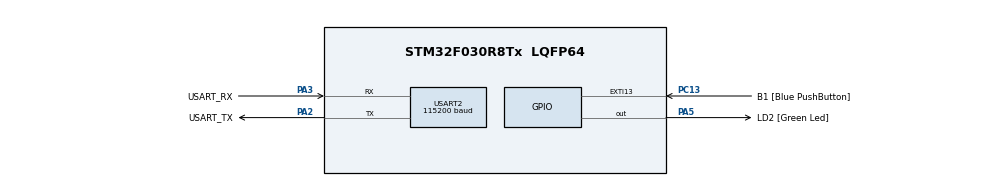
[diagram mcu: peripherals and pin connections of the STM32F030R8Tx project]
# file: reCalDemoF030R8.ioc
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Mcu.Family=STM32F0
Mcu.Name=STM32F030R8Tx
Mcu.Package=LQFP64
NVIC.USART2_IRQn=true\:0\:0\:false\:false\:true\:true\:true
PA13.GPIO_Label=TMS
PA13.Mode=Serial_Wire
PA13.Signal=SYS_SWDIO
PA14.GPIO_Label=TCK
PA14.Mode=Serial_Wire
PA14.Signal=SYS_SWCLK
PA2.GPIO_Label=USART_TX
PA2.GPIO_Mode=GPIO_MODE_AF_PP
PA2.GPIO_PuPd=GPIO_NOPULL
PA2.GPIO_Speed=GPIO_SPEED_FREQ_LOW
PA2.Mode=Asynchronous
PA2.Signal=USART2_TX
PA3.GPIO_Label=USART_RX
PA3.GPIO_Mode=GPIO_MODE_AF_PP
PA3.GPIO_PuPd=GPIO_NOPULL
PA3.GPIO_Speed=GPIO_SPEED_FREQ_LOW
PA3.Mode=Asynchronous
PA3.Signal=USART2_RX
PA5.GPIO_Label=LD2 [Green Led]
PA5.GPIO_Mode=GPIO_MODE_OUTPUT_PP
PA5.GPIO_PuPd=GPIO_NOPULL
PA5.GPIO_Speed=GPIO_SPEED_FREQ_LOW
PA5.Signal=GPIO_Output
PC13.GPIO_Label=B1 [Blue PushButton]
PC13.GPIO_ModeDefaultEXTI=GPIO_MODE_IT_FALLING
PC13.Signal=GPXTI13
PC14-OSC32_IN.Mode=LSE-External-Oscillator
PC14-OSC32_IN.Signal=RCC_OSC32_IN
PC15-OSC32_OUT.Mode=LSE-External-Oscillator
PC15-OSC32_OUT.Signal=RCC_OSC32_OUT
PF0-OSC_IN.Mode=HSE-External-Clock-Source
PF0-OSC_IN.Signal=RCC_OSC_IN
PF1-OSC_OUT.Signal=RCC_OSC_OUT
ProjectManager.HeapSize=0x200
ProjectManager.StackSize=0x400
ProjectManager.TargetToolchain=MDK-ARM V5.27
RCC.AHBFreq_Value=48000000
RCC.APB1Freq_Value=48000000
RCC.APB1TimFreq_Value=48000000
RCC.HCLKFreq_Value=48000000
RCC.PLLMUL=RCC_PLL_MUL12
RCC.SYSCLKFreq_VALUE=48000000
RCC.SYSCLKSource=RCC_SYSCLKSOURCE_PLLCLK
USART2.BaudRate=115200
USART2.VirtualMode-Asynchronous=VM_ASYNC
board=NUCLEO-F030R8

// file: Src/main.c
/* USER CODE BEGIN Header */
/**
  ******************************************************************************
  * @file           : main.c
  * @brief          : Main program body
  ******************************************************************************
  * @attention
  *
  * <h2><center>&copy; Copyright (c) 2020 STMicroelectronics.
  * All rights reserved.</center></h2>
  *
  * This software component is licensed by ST under BSD 3-Clause license,
  * the "License"; You may not use this file except in compliance with the
  * License. You may obtain a copy of the License at:
  *                        opensource.org/licenses/BSD-3-Clause
  *
  ******************************************************************************
  */
/* USER CODE END Header */

#include "main.h"

/* USER CODE BEGIN Includes */
#include "trice.h"
#include "triceCheck.h"
#ifdef ENCRYPT
#include "xteaCrypto.h"
#endif
/* USER CODE END Includes */

void SystemClock_Config(void);
static void MX_GPIO_Init(void);
static void MX_USART2_UART_Init(void);

int main(void)
{
  /* USER CODE BEGIN 1 */
#ifdef ENCRYPT
    InitXteaTable();
#endif
  /* USER CODE END 1 */

  /* MCU Configuration--------------------------------------------------------*/

  /* Reset of all peripherals, Initializes the Flash interface and the Systick. */

  LL_APB1_GRP2_EnableClock(LL_APB1_GRP2_PERIPH_SYSCFG);
  LL_APB1_GRP1_EnableClock(LL_APB1_GRP1_PERIPH_PWR);

  /* System interrupt init*/

  /* Configure the system clock */
  SystemClock_Config();

  /* USER CODE BEGIN SysInit */
    SysTick->CTRL |= SysTick_CTRL_TICKINT_Msk; // enable SysTick interrupt
  /* USER CODE END SysInit */

  /* Initialize all configured peripherals */
  MX_GPIO_Init();
  MX_USART2_UART_Init();
  /* USER CODE BEGIN 2 */
    LL_USART_EnableIT_RXNE(USART2); // enable UART2 interrupt
  /* USER CODE END 2 */

  /* Infinite loop */
  /* USER CODE BEGIN WHILE */
    TRICE16_1( Id(51648), "msg:Hello from MCU! SysTickVal now %d\n", SYSTICKVAL16 );
    while (1)
    {
        static int32_t loopCount = 0u;
        #define LOOPCOUNT 1000000u // resonable for 48 MHz MCU
        loopCount++;
        if( (LOOPCOUNT>>1) == loopCount ){
            static int i = 0;
            TRICE32_1( Id(43027), "msg:Loop %d\n\n\n", i );
            i++;
            LL_GPIO_ResetOutputPin(LD2_GPIO_Port, LD2_Pin);
        }
        if( LOOPCOUNT == loopCount ){
          loopCount = 0;
          LL_GPIO_SetOutputPin(LD2_GPIO_Port, LD2_Pin);

            triceString( 0, "msg:01234567\r\n" );
            triceString( 0, "dbg:abcdefghi\r\n" );
            triceString( 0, "att:ABCDEFGHIJ\r\n" );
            triceCheckSet();
        }
    /* USER CODE END WHILE */

  }
}

void SystemClock_Config(void)
{
  LL_FLASH_SetLatency(LL_FLASH_LATENCY_1);

  if(LL_FLASH_GetLatency() != LL_FLASH_LATENCY_1)
  {
  Error_Handler();
  }
  LL_RCC_HSI_Enable();

   /* Wait till HSI is ready */
  while(LL_RCC_HSI_IsReady() != 1)
  {

  }
  LL_RCC_HSI_SetCalibTrimming(16);
  LL_RCC_PLL_ConfigDomain_SYS(LL_RCC_PLLSOURCE_HSI_DIV_2, LL_RCC_PLL_MUL_12);
  LL_RCC_PLL_Enable();

   /* Wait till PLL is ready */
  while(LL_RCC_PLL_IsReady() != 1)
  {

  }
  LL_RCC_SetAHBPrescaler(LL_RCC_SYSCLK_DIV_1);
  LL_RCC_SetAPB1Prescaler(LL_RCC_APB1_DIV_1);
  LL_RCC_SetSysClkSource(LL_RCC_SYS_CLKSOURCE_PLL);

   /* Wait till System clock is ready */
  while(LL_RCC_GetSysClkSource() != LL_RCC_SYS_CLKSOURCE_STATUS_PLL)
  {

  }
  LL_Init1msTick(48000000);
  LL_SYSTICK_SetClkSource(LL_SYSTICK_CLKSOURCE_HCLK);
  LL_SetSystemCoreClock(48000000);
}

static void MX_USART2_UART_Init(void)
{

  LL_USART_InitTypeDef USART_InitStruct = {0};

  LL_GPIO_InitTypeDef GPIO_InitStruct = {0};

  /* Peripheral clock enable */
  LL_APB1_GRP1_EnableClock(LL_APB1_GRP1_PERIPH_USART2);

  LL_AHB1_GRP1_EnableClock(LL_AHB1_GRP1_PERIPH_GPIOA);
  /**USART2 GPIO Configuration
  PA2   ------> USART2_TX
  PA3   ------> USART2_RX
  */
  GPIO_InitStruct.Pin = USART_TX_Pin;
  GPIO_InitStruct.Mode = LL_GPIO_MODE_ALTERNATE;
  GPIO_InitStruct.Speed = LL_GPIO_SPEED_FREQ_LOW;
  GPIO_InitStruct.OutputType = LL_GPIO_OUTPUT_PUSHPULL;
  GPIO_InitStruct.Pull = LL_GPIO_PULL_NO;
  GPIO_InitStruct.Alternate = LL_GPIO_AF_1;
  LL_GPIO_Init(USART_TX_GPIO_Port, &GPIO_InitStruct);

  GPIO_InitStruct.Pin = USART_RX_Pin;
  GPIO_InitStruct.Mode = LL_GPIO_MODE_ALTERNATE;
  GPIO_InitStruct.Speed = LL_GPIO_SPEED_FREQ_LOW;
  GPIO_InitStruct.OutputType = LL_GPIO_OUTPUT_PUSHPULL;
  GPIO_InitStruct.Pull = LL_GPIO_PULL_NO;
  GPIO_InitStruct.Alternate = LL_GPIO_AF_1;
  LL_GPIO_Init(USART_RX_GPIO_Port, &GPIO_InitStruct);

  /* USART2 interrupt Init */
  NVIC_SetPriority(USART2_IRQn, 0);
  NVIC_EnableIRQ(USART2_IRQn);

  USART_InitStruct.BaudRate = 115200;
  USART_InitStruct.DataWidth = LL_USART_DATAWIDTH_8B;
  USART_InitStruct.StopBits = LL_USART_STOPBITS_1;
  USART_InitStruct.Parity = LL_USART_PARITY_NONE;
  USART_InitStruct.TransferDirection = LL_USART_DIRECTION_TX_RX;
  USART_InitStruct.HardwareFlowControl = LL_USART_HWCONTROL_NONE;
  USART_InitStruct.OverSampling = LL_USART_OVERSAMPLING_16;
  LL_USART_Init(USART2, &USART_InitStruct);
  LL_USART_DisableIT_CTS(USART2);
  LL_USART_ConfigAsyncMode(USART2);
  LL_USART_Enable(USART2);

}

static void MX_GPIO_Init(void)
{
  LL_EXTI_InitTypeDef EXTI_InitStruct = {0};
  LL_GPIO_InitTypeDef GPIO_InitStruct = {0};

  /* GPIO Ports Clock Enable */
  LL_AHB1_GRP1_EnableClock(LL_AHB1_GRP1_PERIPH_GPIOC);
  LL_AHB1_GRP1_EnableClock(LL_AHB1_GRP1_PERIPH_GPIOF);
  LL_AHB1_GRP1_EnableClock(LL_AHB1_GRP1_PERIPH_GPIOA);

  /**/
  LL_GPIO_ResetOutputPin(LD2_GPIO_Port, LD2_Pin);

  /**/
  LL_SYSCFG_SetEXTISource(LL_SYSCFG_EXTI_PORTC, LL_SYSCFG_EXTI_LINE13);

  /**/
  LL_GPIO_SetPinPull(B1_GPIO_Port, B1_Pin, LL_GPIO_PULL_NO);

  /**/
  LL_GPIO_SetPinMode(B1_GPIO_Port, B1_Pin, LL_GPIO_MODE_INPUT);

  /**/
  EXTI_InitStruct.Line_0_31 = LL_EXTI_LINE_13;
  EXTI_InitStruct.LineCommand = ENABLE;
  EXTI_InitStruct.Mode = LL_EXTI_MODE_IT;
  EXTI_InitStruct.Trigger = LL_EXTI_TRIGGER_FALLING;
  LL_EXTI_Init(&EXTI_InitStruct);

  /**/
  GPIO_InitStruct.Pin = LD2_Pin;
  GPIO_InitStruct.Mode = LL_GPIO_MODE_OUTPUT;
  GPIO_InitStruct.Speed = LL_GPIO_SPEED_FREQ_LOW;
  GPIO_InitStruct.OutputType = LL_GPIO_OUTPUT_PUSHPULL;
  GPIO_InitStruct.Pull = LL_GPIO_PULL_NO;
  LL_GPIO_Init(LD2_GPIO_Port, &GPIO_InitStruct);

}

void Error_Handler(void)
{
}

/************************ (C) COPYRIGHT STMicroelectronics *****END OF FILE****/
